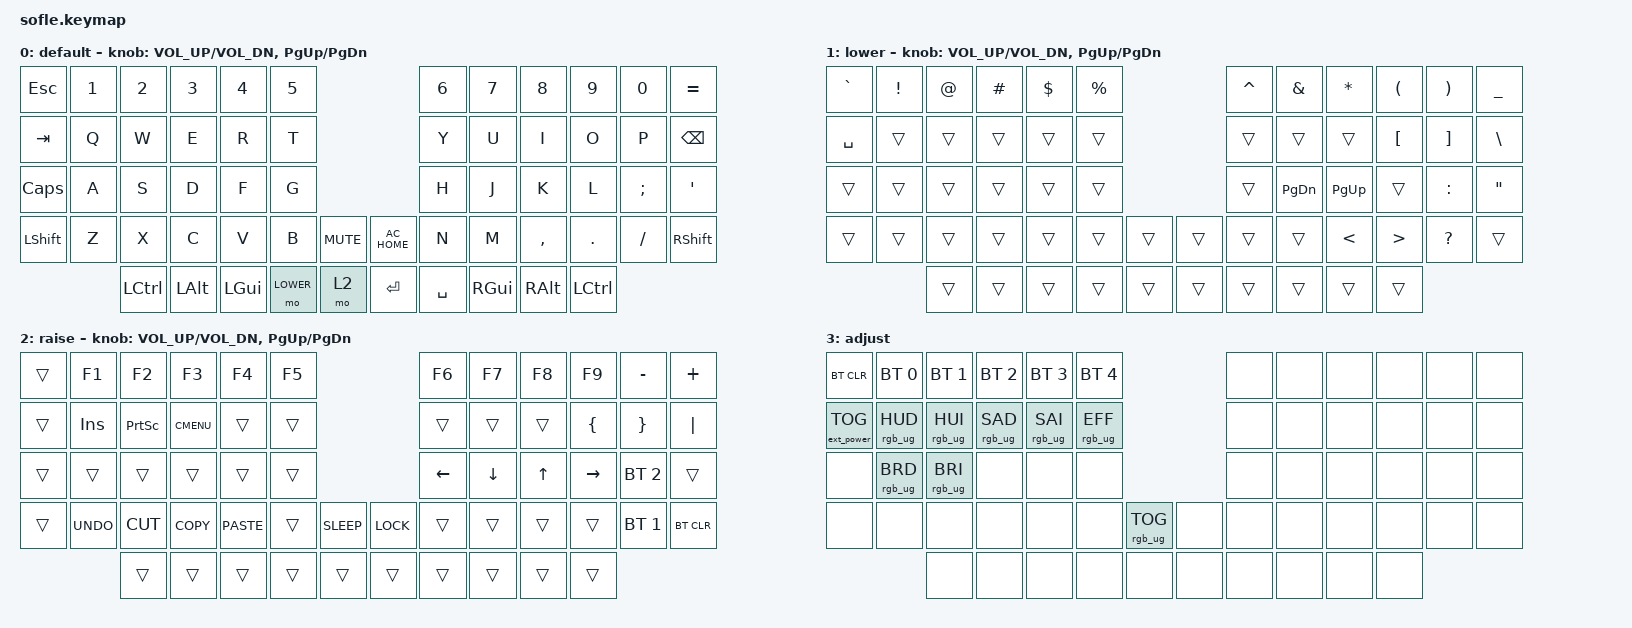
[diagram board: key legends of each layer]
/*
 * Copyright (c) 2020 The ZMK Contributors
 *
 * SPDX-License-Identifier: MIT
 */

#include <behaviors.dtsi>
#include <dt-bindings/zmk/bt.h>
#include <dt-bindings/zmk/ext_power.h>
#include <dt-bindings/zmk/keys.h>
#include <dt-bindings/zmk/rgb.h>

#define BASE 0
#define LOWER 1
#define RAISE 2
#define ADJUST 3

/ {
    // Activate ADJUST layer by pressing raise and lower

    conditional_layers {
        compatible = "zmk,conditional-layers";

        adjust_layer {
            if-layers = <LOWER RAISE>;
            then-layer = <ADJUST>;
        };
    };

    keymap {
        compatible = "zmk,keymap";

        default_layer {
            display-name = "default";

            // ------------------------------------------------------------------------------------------------------------
            // |   `   |  1  |  2  |  3   |  4   |  5   |                   |  6   |  7    |  8    |  9   |   0   |       |
            // |  ESC  |  Q  |  W  |  E   |  R   |  T   |                   |  Y   |  U    |  I    |  O   |   P   | BKSPC |
            // |  TAB  |  A  |  S  |  D   |  F   |  G   |                   |  H   |  J    |  K    |  L   |   ;   |   '   |
            // | SHIFT |  Z  |  X  |  C   |  V   |  B   |  MUTE  |  |       |  N   |  M    |  ,    |  .   |   /   | SHIFT |
            //               | GUI | ALT  | CTRL | LOWER|  ENTER |  | SPACE | RAISE| CTRL  | ALT   | GUI  |

            bindings = <
&kp ESC    &kp N1  &kp N2     &kp N3    &kp N4    &kp N5                                  &kp N6     &kp N7    &kp N8     &kp N9     &kp N0    &kp EQUAL
&kp TAB    &kp Q   &kp W      &kp E     &kp R     &kp T                                   &kp Y      &kp U     &kp I      &kp O      &kp P     &kp BSPC
&kp CAPS   &kp A   &kp S      &kp D     &kp F     &kp G                                   &kp H      &kp J     &kp K      &kp L      &kp SEMI  &kp SQT
&kp LSHFT  &kp Z   &kp X      &kp C     &kp V     &kp B      &kp C_MUTE    &kp C_AC_HOME  &kp N      &kp M     &kp COMMA  &kp DOT    &kp FSLH  &kp RSHFT
                   &kp LCTRL  &kp LALT  &kp LGUI  &mo LOWER  &mo 2         &kp RET        &kp SPACE  &kp RGUI  &kp RALT   &kp LCTRL
            >;

            sensor-bindings = <&inc_dec_kp C_VOL_UP C_VOL_DN &inc_dec_kp PG_UP PG_DN>;
        };

        lower_layer {
            display-name = "lower";

            // TODO: Some binds are waiting for shifted keycode support.
            // ------------------------------------------------------------------------------------------------------------
            // |       |  F1 |  F2 |  F3  |  F4  |  F5  |                   |  F6  |  F7   |  F8   |  F9  |  F10  |  F11  |
            // |   `   |  1  |  2  |  3   |  4   |  5   |                   |  6   |  7    |  8    |  9   |   0   |  F12  |
            // |       |  !  |  @  |  #   |  $   |  %   |                   |  ^   |  &    |  *    |  (   |   )   |   |   |
            // |       |  =  |  -  |  +   |  {   |  }   |        |  |       |  [   |  ]    |  ;    |  :   |   \   |       |
            //               |     |      |      |      |        |  |       |      |       |       |      |

            bindings = <
&kp GRAVE  &kp EXCL  &kp AT  &kp HASH  &kp DLLR  &kp PRCNT                    &kp CARET  &kp AMPS       &kp STAR     &kp LPAR  &kp RPAR   &kp UNDER
&kp SPACE  &trans    &trans  &trans    &trans    &trans                       &trans     &trans         &trans       &kp LBKT  &kp RBKT   &kp BSLH
&trans     &trans    &trans  &trans    &trans    &trans                       &trans     &kp PAGE_DOWN  &kp PAGE_UP  &trans    &kp COLON  &kp DOUBLE_QUOTES
&trans     &trans    &trans  &trans    &trans    &trans     &trans    &trans  &trans     &trans         &kp LT       &kp GT    &kp QMARK  &trans
                     &trans  &trans    &trans    &trans     &trans    &trans  &trans     &trans         &trans       &trans
            >;

            sensor-bindings = <&inc_dec_kp C_VOL_UP C_VOL_DN &inc_dec_kp PG_UP PG_DN>;
        };

        raise_layer {
            display-name = "raise";

            // ------------------------------------------------------------------------------------------------------------
            // | BTCLR | BT1  | BT2  |  BT3  |  BT4  |  BT5 |                |      |      |       |      |       |       |
            // |       | INS  | PSCR | GUI   |       |      |                | PGUP |      |   ^   |      |       |       |
            // |       | ALT  | CTRL | SHIFT |       | CAPS |                | PGDN |   <- |   v   |  ->  |  DEL  | BKSPC |
            // |       | UNDO | CUT  | COPY  | PASTE |      |      |  |      |      |      |       |      |       |       |
            //                |      |       |       |      |      |  |      |      |      |       |      |

            bindings = <
&trans  &kp F1      &kp F2     &kp F3       &kp F4       &kp F5                             &kp F6          &kp F7    &kp F8  &kp F9     &kp MINUS     &kp PLUS
&trans  &kp INS     &kp PSCRN  &kp K_CMENU  &trans       &trans                             &trans          &trans    &trans  &kp LBRC   &kp RBRC      &kp PIPE
&trans  &trans      &trans     &trans       &trans       &trans                             &kp LEFT_ARROW  &kp DOWN  &kp UP  &kp RIGHT  &bt BT_SEL 2  &trans
&trans  &kp K_UNDO  &kp K_CUT  &kp K_COPY   &kp K_PASTE  &trans  &kp K_SLEEP    &kp K_LOCK  &trans          &trans    &trans  &trans     &bt BT_SEL 1  &bt BT_CLR
                    &trans     &trans       &trans       &trans  &trans         &trans      &trans          &trans    &trans  &trans
            >;

            sensor-bindings = <&inc_dec_kp C_VOL_UP C_VOL_DN &inc_dec_kp PG_UP PG_DN>;
        };

        adjust_layer {
            // ----------------------------------------------------------------------------------------------------------------------------
            // | BTCLR  |  BT1    |  BT2    |   BT3   |   BT4   |   BT5   |                  |      |      |       |      |       |       |
            // | EXTPWR | RGB_HUD | RGB_HUI | RGB_SAD | RGB_SAI | RGB_EFF |                  |      |      |       |      |       |       |
            // |        | RGB_BRD | RGB_BRI |         |         |         |                  |      |      |       |      |       |       |
            // |        |         |         |         |         |         | RGB_TOG | |      |      |      |       |      |       |       |
            //                    |         |         |         |         |         | |      |      |      |       |      |

            display-name = "adjust";
            bindings = <
&bt BT_CLR         &bt BT_SEL 0     &bt BT_SEL 1     &bt BT_SEL 2     &bt BT_SEL 3     &bt BT_SEL 4                               &none  &none  &none  &none  &none  &none
&ext_power EP_TOG  &rgb_ug RGB_HUD  &rgb_ug RGB_HUI  &rgb_ug RGB_SAD  &rgb_ug RGB_SAI  &rgb_ug RGB_EFF                            &none  &none  &none  &none  &none  &none
&none              &rgb_ug RGB_BRD  &rgb_ug RGB_BRI  &none            &none            &none                                      &none  &none  &none  &none  &none  &none
&none              &none            &none            &none            &none            &none            &rgb_ug RGB_TOG    &none  &none  &none  &none  &none  &none  &none
                                    &none            &none            &none            &none            &none              &none  &none  &none  &none  &none
            >;
        };
    };
};
